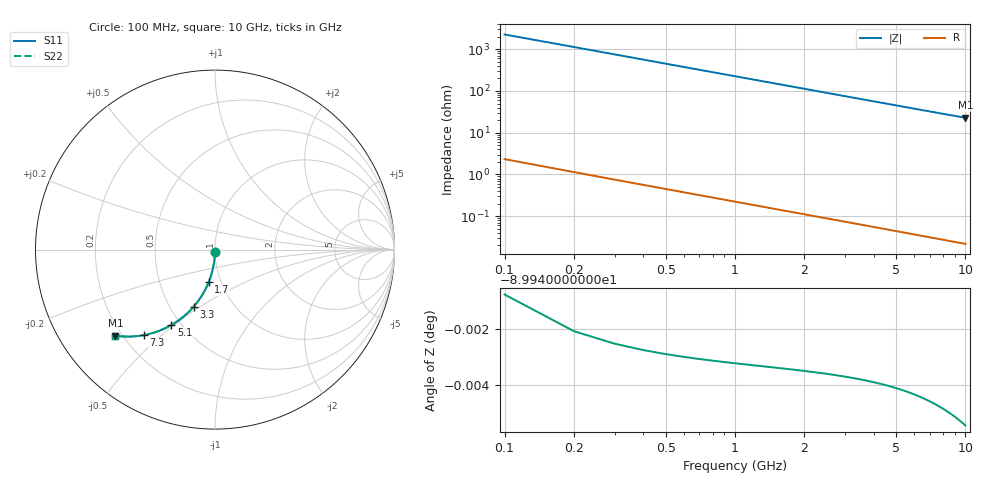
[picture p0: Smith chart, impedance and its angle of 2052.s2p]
# Hz S RI R 50.00
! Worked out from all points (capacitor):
!   100 points, 100 MHz to 10 GHz, reference 50 ohm
!   read as one part in shunt: C = 706 fF near 100 MHz
!   lowest |Z| = 22.8 ohm at 10 GHz (marker M1)
!   S11 on the Smith chart (normalised r, x): 100 MHz: 1.00, -0.02; 1.7 GHz: 0.88, -0.33; 3.3 GHz: 0.65, -0.47; 5.1 GHz: 0.44, -0.49; 7.3 GHz: 0.28, -0.44; 10 GHz: 0.17, -0.36
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1e8  -0.000102 -0.0109  0.9998 -0.0112  0.9998 -0.0112  -0.000102 -0.0109
2e8  -0.000481 -0.0218  0.9995 -0.0225  0.9995 -0.0225  -0.000481 -0.0218
3e8  -0.00111 -0.0327  0.9988 -0.0337  0.9988 -0.0337  -0.00111 -0.0327
4e8  -0.00197 -0.0436  0.998 -0.0449  0.998 -0.0449  -0.00197 -0.0436
5e8  -0.00308 -0.0544  0.9968 -0.0561  0.9968 -0.0561  -0.00308 -0.0544
6e8  -0.00444 -0.0652  0.9955 -0.0672  0.9955 -0.0672  -0.00444 -0.0652
8e8  -0.00786 -0.0867  0.9921 -0.0893  0.9921 -0.0893  -0.00786 -0.0867
9e8  -0.00992 -0.0973  0.99 -0.1003  0.99 -0.1003  -0.00992 -0.0973
1.1e9  -0.0147 -0.1184  0.9852 -0.122  0.9852 -0.122  -0.0147 -0.1184
1.4e9  -0.0236 -0.1493  0.9763 -0.1539  0.9763 -0.1539  -0.0236 -0.1493
1.7e9  -0.0345 -0.1793  0.9654 -0.1848  0.9654 -0.1848  -0.0345 -0.1793
1.8e9  -0.0385 -0.189  0.9614 -0.1949  0.9614 -0.1949  -0.0385 -0.189
2.1e9  -0.0517 -0.2175  0.9483 -0.2244  0.9483 -0.2244  -0.0517 -0.2175
2.5e9  -0.0717 -0.2534  0.9282 -0.2616  0.9282 -0.2616  -0.0717 -0.2534
3.3e9  -0.1186 -0.3175  0.8813 -0.3283  0.8813 -0.3283  -0.1186 -0.3175
3.4e9  -0.125 -0.3247  0.8749 -0.3359  0.8749 -0.3359  -0.125 -0.3247
4.2e9  -0.1791 -0.3761  0.8207 -0.3899  0.8207 -0.3899  -0.1791 -0.3761
5.1e9  -0.2436 -0.4204  0.7562 -0.4373  0.7562 -0.4373  -0.2436 -0.4204
6.7e9  -0.3577 -0.4677  0.6419 -0.4901  0.6419 -0.4901  -0.3577 -0.4677
7.3e9  -0.3983 -0.4769  0.6014 -0.5013  0.6014 -0.5013  -0.3983 -0.4769
8.4e9  -0.4675 -0.4843  0.532 -0.5126  0.532 -0.5126  -0.4675 -0.4843
1e10  -0.5551 -0.4794  0.4443 -0.5134  0.4443 -0.5134  -0.5551 -0.4794
